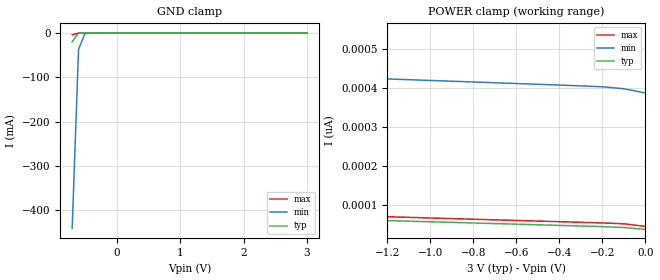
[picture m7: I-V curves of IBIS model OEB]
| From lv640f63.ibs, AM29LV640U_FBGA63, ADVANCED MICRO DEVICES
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|   Model OEB
[Model]   OEB
Model_type   Input
Polarity   Inverting
Vinl =   0.8000V
Vinh =   2.1000V
C_comp   8.0000pF   8.0000pF   8.0000pF
[Temperature Range]   27.0000   100.0000   0.000
[Pullup Reference]   3.0000V   2.7000V   3.6000V
[Pulldown Reference]   0.000V   0.000V   0.000V
[POWER Clamp Reference]   3.0000V   2.7000V   3.6000V
[GND Clamp Reference]   0.000V   0.000V   0.000V
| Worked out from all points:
|   GND clamp passes 1 mA (typ) near -0.60 V on its own axis
[GND_clamp]
| voltage   I(typ)   I(min)   I(max)
-700mV    -19.86mA   -440.3mA   -4.491mA
-600mV    -544uA     -37.32mA   -434.8uA
-500mV    -20.73uA   -1.779mA   -46.58uA
-300mV    -51.19nA   -3.71uA    -157.7nA
3V        35.68pA    405.8pA    33.35pA
[POWER_clamp]
| voltage   I(typ)   I(min)   I(max)
-3V       212.8nA    76.05nA    887.1nA
-2.5V     1.037nA    1.297nA    6.367nA
-2.4V     350.8pA    763.7pA    1.742nA
-2.3V     149pA      558pA      492.7pA
-2.2V     91.21pA    480pA      176.7pA
-2.1V     75.62pA    451.5pA    100.1pA
-2V       71.61pA    441.7pA    83.28pA
-1.8V     68.16pA    435.7pA    78.1pA
-200mV    42.95pA    403.5pA    52.52pA
-100mV    40.71pA    398.4pA    50.22pA
0V        35.68pA    387.6pA    43.49pA
